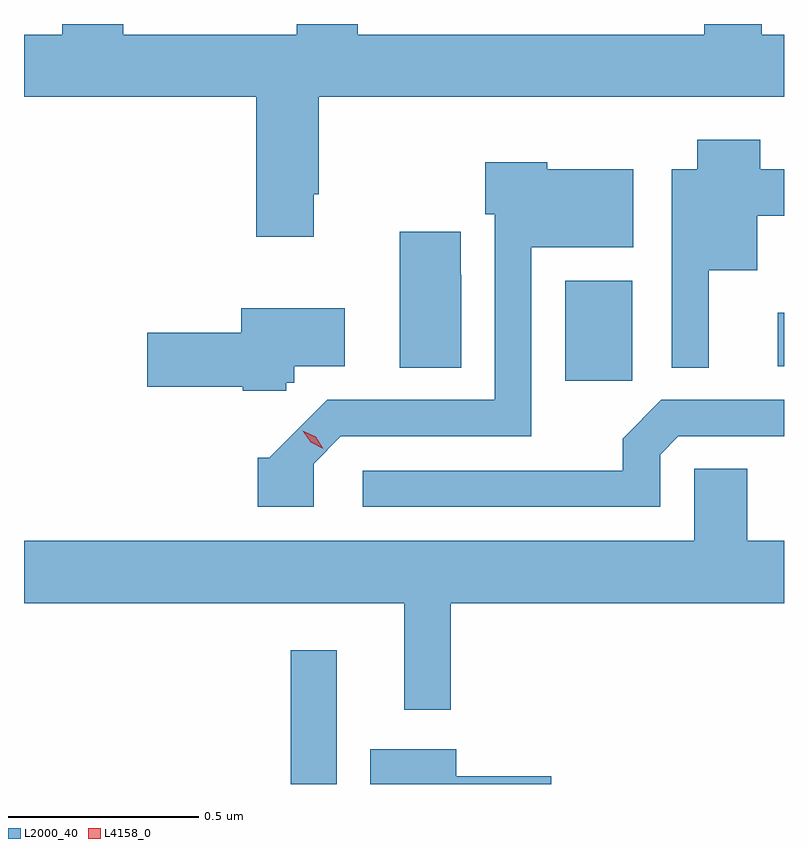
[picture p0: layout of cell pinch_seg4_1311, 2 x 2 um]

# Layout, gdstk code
import gdstk
lib = gdstk.Library(unit=1e-6, precision=1e-09)
def R(c, l, rs):  # rectangles x0, y0, x1, y1
    for r in rs: c.add(gdstk.rectangle(r[:2], r[2:], *l))
def P(c, l, *ps):  # polygons
    for p in ps: c.add(gdstk.Polygon(p, *l))
L2000_40 = (2000, 40)
L4158_0 = (4158, 0)

pinch_seg4_1311 = lib.new_cell('pinch_seg4_1311')
R(pinch_seg4_1311, L2000_40, [(338.874,776.364,338.995,776.716), (339.596,777.425,339.772,777.688), (340.155,777.464,340.172,777.604)])
P(pinch_seg4_1311, L2000_40, [(338.935,777.916),(338.948,777.916),(338.948,778.172),(340.172,778.172),(340.172,778.336),(340.114,778.336),(340.114,778.364),(339.962,778.364),(339.962,778.336),(339.05,778.336),(339.05,778.364),(338.89,778.364),(338.89,778.336),(338.433,778.336),(338.433,778.364),(338.273,778.364),(338.273,778.336),(338.172,778.336),(338.172,778.172),(338.783,778.172),(338.783,777.804),(338.935,777.804)],
  [(339.974,777.716),(340.102,777.716),(340.102,777.86),(340.172,777.86),(340.172,777.982),(340.11,777.982),(340.11,778.06),(339.944,778.06),(339.944,777.982),(339.876,777.982),(339.876,777.46),(339.974,777.46)],
  [(338.934,777.207),(339.006,777.279),(339.507,777.279),(339.507,777.776),(339.775,777.776),(339.775,777.982),(339.549,777.982),(339.549,778),(339.386,778),(339.386,777.864),(339.411,777.864),(339.411,777.375),(338.97,777.375),(338.818,777.223),(338.787,777.223),(338.787,777.093),(338.934,777.093)],
  [(339.322,777.704),(339.321,777.704),(339.321,777.817),(339.161,777.817),(339.161,777.46),(339.322,777.46)],
  [(338.862,777.42),(338.883,777.42),(338.883,777.464),(339.016,777.464),(339.016,777.616),(338.744,777.616),(338.744,777.551),(338.496,777.551),(338.496,777.409),(338.748,777.409),(338.748,777.399),(338.862,777.399)],
  [(339.846,777.231),(339.894,777.279),(340.172,777.279),(340.172,777.375),(339.849,777.375),(339.748,777.273),(339.748,777.189),(339.063,777.189),(339.063,777.093),(339.846,777.093)],
  [(339.295,776.84),(340.172,776.84),(340.172,777.004),(340.075,777.004),(340.075,777.194),(339.936,777.194),(339.936,777.004),(338.172,777.004),(338.172,776.84),(339.173,776.84),(339.173,776.559),(339.295,776.559)],
  [(339.559,776.385),(339.31,776.385),(339.31,776.455),(339.083,776.455),(339.083,776.364),(339.559,776.364)])
P(pinch_seg4_1311, L4158_0, [(338.959,777.246),(338.926,777.263),(338.906,777.294),(338.906,777.294),(338.906,777.294),(338.94,777.278),(338.96,777.246),(338.96,777.246)])

lib.write_gds('pinch_seg4_1311.gds')
